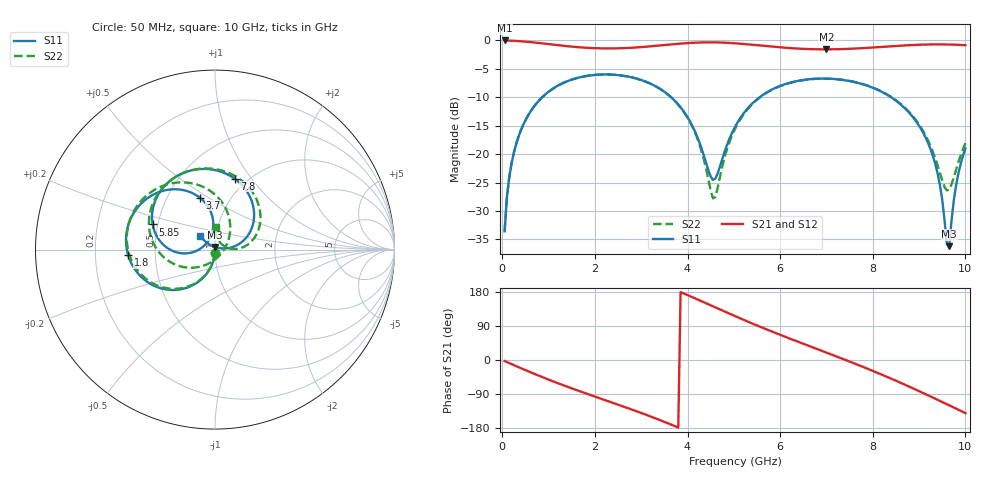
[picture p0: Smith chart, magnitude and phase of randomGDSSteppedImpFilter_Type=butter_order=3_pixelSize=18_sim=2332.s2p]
! freq	dB(S11)	phase(S11)	dB(S12)	phase(S12)
!  dB(S21)	phase(S21)	dB(S22)	phase(S22)
!S-par simulation data
#  GHz  S  DB  R 50
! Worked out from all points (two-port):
!   200 points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, 50 MHz to 10 GHz, reference 50 ohm
!   highest |S21| = -0.01 dB at 50 MHz (marker M1); lowest = -1.6 dB at 7 GHz (marker M2)
!   |S21| within 3 dB of the highest: start of sweep to end of sweep
!   lowest |S11| = -36.2 dB at 9.65 GHz (marker M3), VSWR 1.03, Z = 49.7 + j1.53 ohm
!   |S11| at or under -10 dB: start of sweep to 860.9 MHz; 3.647 GHz to 5.554 GHz (1.907 GHz wide, 41.4 % of centre); 8.397 GHz to end of sweep
!   |S22| runs from -33.6 to -6.0 dB; largest |S21 - S12| = 0
!   S11 on the Smith chart (normalised r, x): 50 MHz: 1.00, -0.04; 1.8 GHz: 0.35, -0.03; 3.7 GHz: 0.72, +0.46; 5.85 GHz: 0.47, +0.15; 7.8 GHz: 0.88, +0.83; 10 GHz: 0.84, +0.13
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0.05  -33.56 -92.7  -0.01 -2.7  -0.01 -2.7  -33.56 -92.8
0.2  -21.62 -101.1  -0.05 -10.8  -0.05 -10.8  -21.62 -101.5
0.5  -14.04 -116.8  -0.21 -26.7  -0.21 -26.7  -14.04 -117.7
1.1  -8.44 -146.0  -0.74 -56.6  -0.74 -56.6  -8.45 -148.0
1.75  -6.35 -174.5  -1.26 -85.8  -1.26 -85.8  -6.35 -178.2
1.8  -6.28 -176.6  -1.28 -88.0  -1.28 -88.0  -6.28 179.6
2.65  -6.26 148.9  -1.35 -124.3  -1.35 -124.3  -6.26 141.9
3.4  -8.48 118.3  -0.89 -158.4  -0.89 -158.4  -8.49 105.5
3.7  -10.41 106.3  -0.66 -173.2  -0.66 -173.2  -10.43 88.8
4.2  -16.74 93.7  -0.38 160.6  -0.38 160.6  -16.96 53.1
4.55  -24.53 137.4  -0.34 141.6  -0.34 141.6  -27.76 -30.3
5.05  -14.84 -173.4  -0.52 114.5  -0.52 114.5  -15.15 -144.7
5.85  -8.53 158.0  -1.11 73.7  -1.11 73.7  -8.57 166.1
6.7  -6.77 122.3  -1.54 33.5  -1.54 33.5  -6.79 123.2
7  -6.71 109.5  -1.57 19.6  -1.57 19.6  -6.72 108.5
7.8  -7.74 74.6  -1.35 -18.7  -1.35 -18.7  -7.71 68.5
8.35  -9.75 49.5  -1.06 -46.7  -1.06 -46.7  -9.69 40.0
9.2  -18.14 11.2  -0.71 -93.5  -0.71 -93.5  -17.71 2.3
9.4  -23.39 6.3  -0.69 -105.0  -0.69 -105.0  -21.98 5.1
9.65  -36.18 99.1  -0.72 -119.5  -0.72 -119.5  -26.24 54.8
9.8  -25.42 139.3  -0.76 -128.3  -0.76 -128.3  -22.70 82.1
10  -19.01 136.8  -0.84 -140.2  -0.84 -140.2  -18.08 87.4
